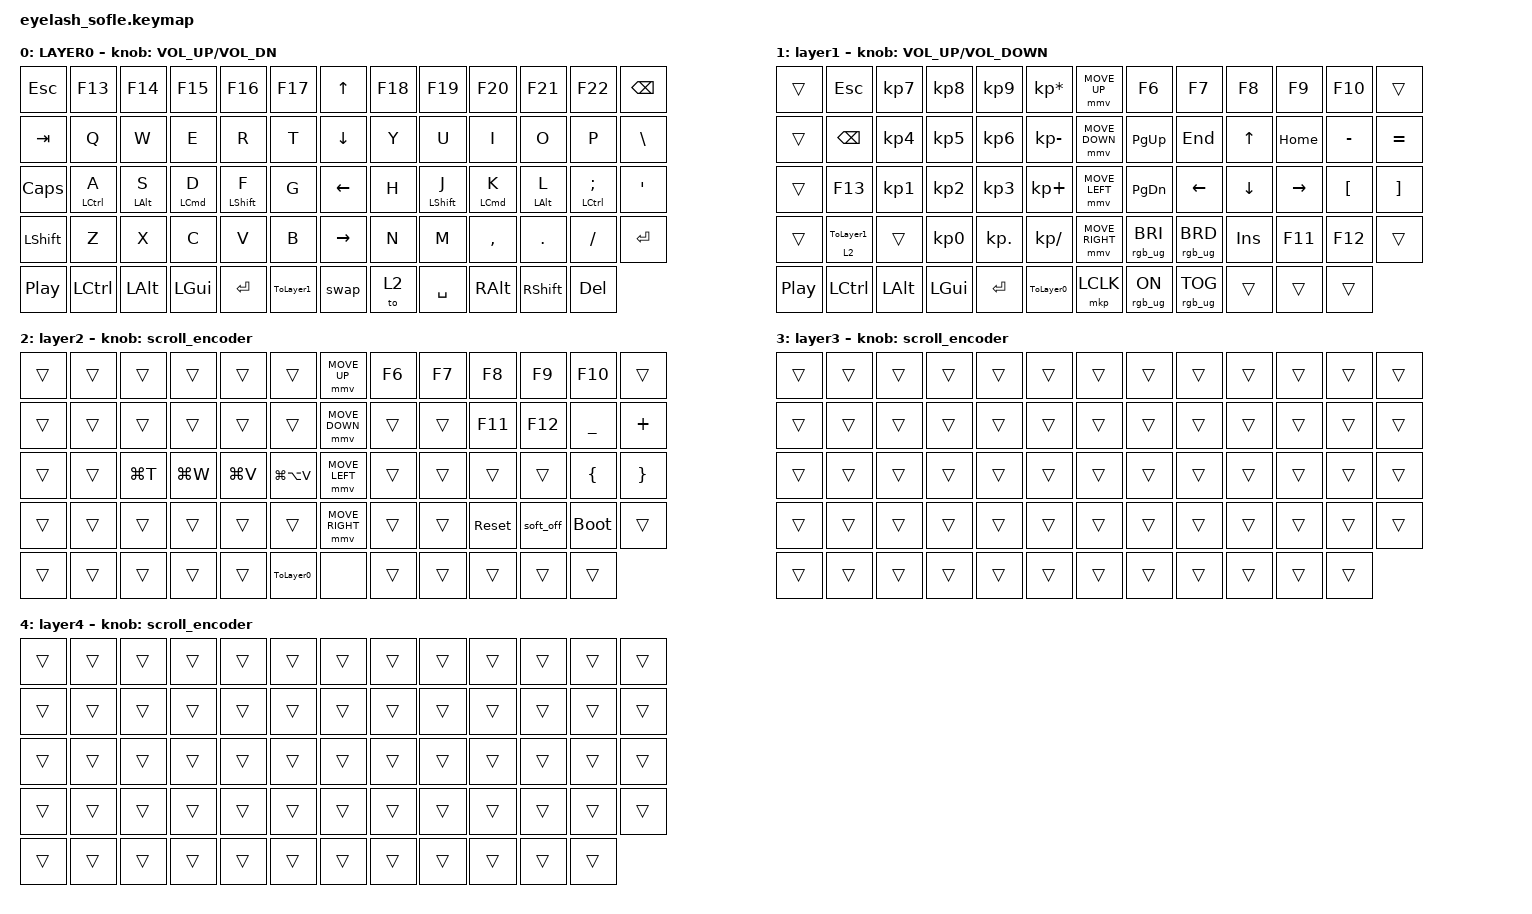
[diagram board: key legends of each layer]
#define ZMK_POINTING_DEFAULT_MOVE_VAL 1200  // 600
#define ZMK_POINTING_DEFAULT_SCRL_VAL 25   // 10

#include <input/processors.dtsi>
#include <zephyr/dt-bindings/input/input-event-codes.h>
#include <behaviors.dtsi>
#include <dt-bindings/zmk/keys.h>
#include <dt-bindings/zmk/pointing.h>
#include <dt-bindings/zmk/rgb.h>

&mmv_input_listener { input-processors = <&zip_xy_scaler 2 1>; };

&msc_input_listener { input-processors = <&zip_scroll_scaler 2 1>; };

&msc {
    acceleration-exponent = <1>;      // 0
    time-to-max-speed-ms = <100>;       // 300
    delay-ms = <0>;                   // 0
};

&mmv {
    time-to-max-speed-ms = <500>;
    acceleration-exponent = <1>;
    trigger-period-ms = <16>;
};

&soft_off { hold-time-ms = <2000>; };

/ {
    scroll_encoder: scroll_encoder {
        compatible = "zmk,behavior-sensor-rotate";
        #sensor-binding-cells = <0>;
        bindings = <&msc SCRL_DOWN>, <&msc SCRL_UP>;

        tap-ms = <100>;
    };

    layer_switch: layer_switch {
        compatible = "zmk,behavior-hold-tap";
        label = "LAYER_SWITCH";
        bindings = <&mo>, <&ToLayer1>;

        #binding-cells = <2>;
        tapping-term-ms = <100>;
        flavor = "hold-preferred";
    };

    combos {
        compatible = "zmk,combos";

        softoff {
            bindings = <&soft_off>;
            key-positions = <14 28 40>;
        };
    };

    macros {
        ToLayer1: Layer1 {
            compatible = "zmk,behavior-macro";
            #binding-cells = <0>;
            bindings = <&kp F19 &to 1>;
            label = "LAYER1";
        };

        ToLayer0: Layer_0 {
            compatible = "zmk,behavior-macro";
            #binding-cells = <0>;
            bindings = <&kp F20 &to 0>;
            label = "LAYER_0";
        };
    };

    behaviors {
        swap: swapper {
            compatible = "zmk,behavior-tri-state";
            label = "SWAPPER";
            #binding-cells = <0>;
            bindings = <&kt LEFT_GUI>, <&kp TAB>, <&kt LEFT_GUI>;

            ignored-key-positions = <1>;
        };
    }; 
    
    keymap {
        compatible = "zmk,keymap";

        Base {
            bindings = <
&kp ESC           &kp F13             &kp F14         &kp F15       &kp F16           &kp F17      &kp UP_ARROW     &kp F18  &kp F19           &kp F20             &kp F21          &kp F22                     &kp BACKSPACE
&kp TAB           &kp Q               &kp W           &kp E         &kp R             &kp T        &kp DOWN_ARROW   &kp Y    &kp U             &kp I               &kp O            &kp P                       &kp BSLH
&kp CAPS          &mt LEFT_CONTROL A  &mt LEFT_ALT S  &mt LCMD D    &mt LEFT_SHIFT F  &kp G        &kp LEFT_ARROW   &kp H    &mt LEFT_SHIFT J  &mt LEFT_COMMAND K  &mt LEFT_ALT L   &mt LEFT_CONTROL SEMICOLON  &kp APOS
&kp LSHFT         &kp Z               &kp X           &kp C         &kp V             &kp B        &kp RIGHT_ARROW  &kp N    &kp M             &kp COMMA           &kp DOT          &kp FSLH                    &kp ENTER
&kp C_PLAY_PAUSE  &kp LCTRL           &kp LEFT_ALT    &kp LEFT_GUI  &kp ENTER         &ToLayer1    &swap            &to 2    &kp SPACE         &kp RIGHT_ALT       &kp RIGHT_SHIFT  &kp DELETE
            >;

            sensor-bindings = <&inc_dec_kp C_VOLUME_UP C_VOL_DN>;
            display-name = "LAYER0";
        };

        Num {
            bindings = <
&trans            &kp ESCAPE         &kp KP_NUMBER_7  &kp KP_NUMBER_8  &kp KP_NUMBER_9  &kp KP_ASTERISK    &mmv MOVE_UP     &kp F6           &kp F7           &kp F8      &kp F9     &kp F10           &trans
&trans            &kp BACKSPACE      &kp KP_NUMBER_4  &kp KP_NUMBER_5  &kp KP_NUMBER_6  &kp KP_MINUS       &mmv MOVE_DOWN   &kp PG_UP        &kp END          &kp UP      &kp HOME   &kp MINUS         &kp EQUAL
&trans            &kp F13            &kp KP_NUMBER_1  &kp KP_NUMBER_2  &kp KP_NUMBER_3  &kp KP_PLUS        &mmv MOVE_LEFT   &kp PG_DN        &kp LEFT         &kp DOWN    &kp RIGHT  &kp LEFT_BRACKET  &kp RIGHT_BRACKET
&trans            &layer_switch 2 0  &trans           &kp KP_NUMBER_0  &kp KP_DOT       &kp KP_DIVIDE      &mmv MOVE_RIGHT  &rgb_ug RGB_BRI  &rgb_ug RGB_BRD  &kp INSERT  &kp F11    &kp F12           &trans
&kp C_PLAY_PAUSE  &kp LEFT_CONTROL   &kp LEFT_ALT     &kp LEFT_GUI     &kp ENTER        &ToLayer0          &mkp LCLK        &rgb_ug RGB_ON   &rgb_ug RGB_TOG  &trans      &trans     &trans
            >;

            display-name = "layer1";
            sensor-bindings = <&inc_dec_kp C_VOLUME_UP C_VOLUME_DOWN>;
        };

        Shortcut {
            bindings = <
&trans  &trans  &trans     &trans     &trans     &trans           &mmv MOVE_UP     &kp F6  &kp F7  &kp F8      &kp F9     &kp F10      &trans
&trans  &trans  &trans     &trans     &trans     &trans           &mmv MOVE_DOWN   &trans  &trans  &kp F11     &kp F12    &kp UNDER    &kp PLUS
&trans  &trans  &kp LG(T)  &kp LG(W)  &kp LG(V)  &kp LG(LA(V))    &mmv MOVE_LEFT   &trans  &trans  &trans      &trans     &kp LBRC     &kp RBRC
&trans  &trans  &trans     &trans     &trans     &trans           &mmv MOVE_RIGHT  &trans  &trans  &sys_reset  &soft_off  &bootloader  &trans
&trans  &trans  &trans     &trans     &trans     &ToLayer0        &none            &trans  &trans  &trans      &trans     &trans
            >;

            display-name = "layer2";
            sensor-bindings = <&scroll_encoder>;
        };

        layer_3 {
            bindings = <
&trans  &trans  &trans  &trans  &trans  &trans    &trans  &trans  &trans  &trans  &trans  &trans  &trans
&trans  &trans  &trans  &trans  &trans  &trans    &trans  &trans  &trans  &trans  &trans  &trans  &trans
&trans  &trans  &trans  &trans  &trans  &trans    &trans  &trans  &trans  &trans  &trans  &trans  &trans
&trans  &trans  &trans  &trans  &trans  &trans    &trans  &trans  &trans  &trans  &trans  &trans  &trans
&trans  &trans  &trans  &trans  &trans  &trans    &trans  &trans  &trans  &trans  &trans  &trans
            >;

            display-name = "layer3";
            sensor-bindings = <&scroll_encoder>;
        };

        layer_4 {
            bindings = <
&trans  &trans  &trans  &trans  &trans  &trans    &trans  &trans  &trans  &trans  &trans  &trans  &trans
&trans  &trans  &trans  &trans  &trans  &trans    &trans  &trans  &trans  &trans  &trans  &trans  &trans
&trans  &trans  &trans  &trans  &trans  &trans    &trans  &trans  &trans  &trans  &trans  &trans  &trans
&trans  &trans  &trans  &trans  &trans  &trans    &trans  &trans  &trans  &trans  &trans  &trans  &trans
&trans  &trans  &trans  &trans  &trans  &trans    &trans  &trans  &trans  &trans  &trans  &trans
            >;

            display-name = "layer4";
            sensor-bindings = <&scroll_encoder>;
        };
    };
};
